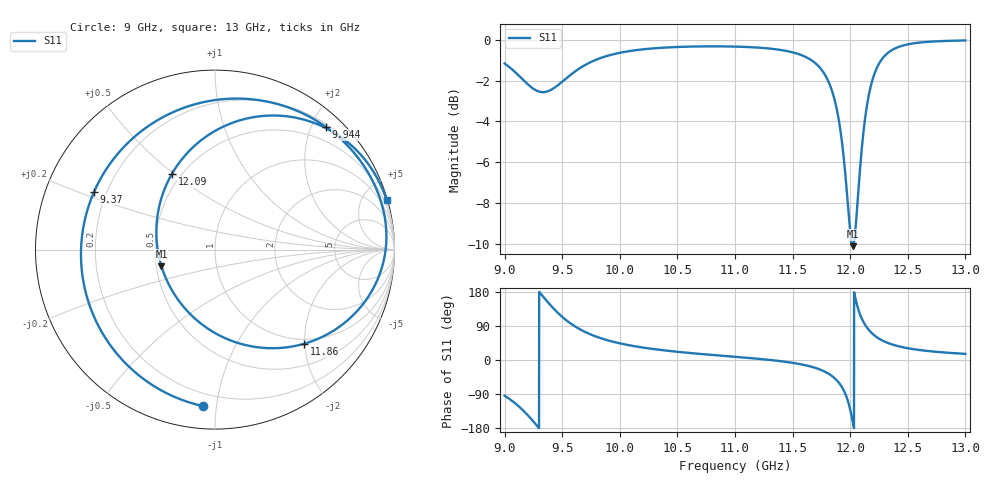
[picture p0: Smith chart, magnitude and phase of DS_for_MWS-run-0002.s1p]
! TOUCHSTONE file generated by CST DESIGN STUDIO
! Date and time: Tue Feb  4 17:39:11 2025
! Project name: C:\Work\MatlabApps\UnitCellOptimizationMatlab\CST\unitcell.cst
! Tree item: Tasks\Sweep1\SPara1\S-Parameters
! Header version: 2024
! Port assignment regex: !\s*Touchstone port\s*([0-9]+)\s*=\s*(CST MWS port|CST DES external port|CST DES block port)\s*(.+)\s* \(\"(.*)\"\)(\s*mode\s*([0-9]+))?.*
! Touchstone port assignment:
! Touchstone port 1 = CST DES external port 1 ("")
# GHz S MA R 50
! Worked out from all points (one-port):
!   4001 points, 9 GHz to 13 GHz, reference 50 ohm
!   lowest |S11| = -10.1 dB at 12.02 GHz (marker M1), VSWR 1.91, Z = 26.6 - j5.45 ohm
!   |S11| at or under -10 dB: 12.0139 GHz to 12.03037 GHz (16.47 MHz wide, 0.137 % of centre)
!   S11 on the Smith chart (normalised r, x): 9 GHz: 0.12, -0.92; 9.37 GHz: 0.15, +0.22; 9.944 GHz: 0.25, +2.22; 11.86 GHz: 0.90, -1.99; 12.09 GHz: 0.45, +0.49; 13 GHz: 0.11, +7.02
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9  0.8743 -94.4
9.116  0.8205 -120.5
9.228  0.7662 -154.7
9.299  0.7464 -180.0
9.37  0.7468 154.4
9.436  0.7639 132.4
9.5  0.7891 113.8
9.595  0.8294 91.8
9.715  0.872 71.7
9.944  0.9213 48.0
10  0.9288 44.0
10.5  0.9596 21.6
11  0.9618 8.5
11.5  0.9311 -7.5
11.722  0.863 -23.3
11.797  0.8052 -33.5
11.859  0.7226 -46.6
11.938  0.533 -76.7
11.969  0.4307 -97.9
12  0.3388 -130.8
12.022  0.3123 -162.8
12.053  0.3639 152.6
12.086  0.4848 119.7
12.137  0.6655 89.3
12.197  0.8036 68.3
12.321  0.9252 45.7
12.5  0.974 31.1
13  0.9956 16.2
